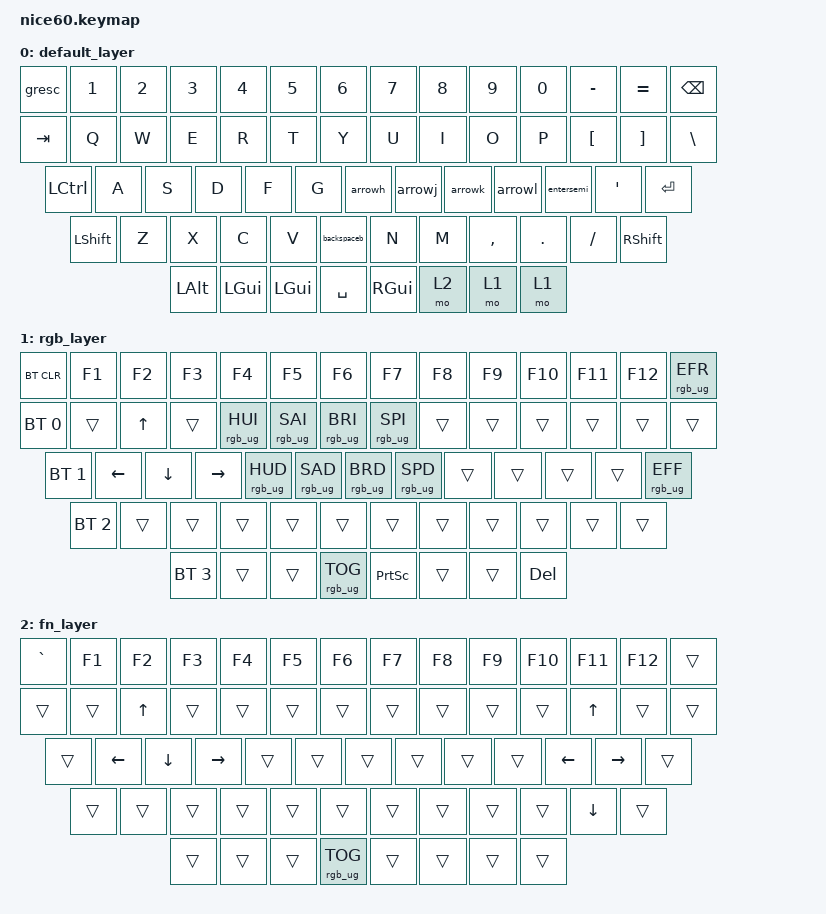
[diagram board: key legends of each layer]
/*
 * Copyright (c) 2021 Nick Winans
 *
 * SPDX-License-Identifier: MIT
 */

#include <behaviors.dtsi>
#include <dt-bindings/zmk/keys.h>
#include <dt-bindings/zmk/rgb.h>
#include <dt-bindings/zmk/bt.h>
#include <dt-bindings/zmk/outputs.h>
#include <dt-bindings/zmk/reset.h>
#include <dt-bindings/zmk/ext_power.h>

/ {
	keymap {
		compatible = "zmk,keymap";
		
		default_layer {
// ------------------------------------------------------------------------------------------
// | ESC |  1  |  2  |  3  |  4  |  5  |  6  |  7  |  8  |  9  |  0  |  -  |  =  |   BKSP   |
// | TAB  |  Q  |  W  |  E  |  R  |  T  |  Y  |  U  |  I  |  O  |  P  |  [  |  ]  |   "|"   |
// | CAPS  |  A  |  S  |  D  |  F  |  G  |  H  |  J  |  K  |  L  |  ;  |  '  |     ENTER    |
// |  SHIFT  |  Z  |  X  |  C  |  V  |  B  |  N  |  M  |  ,  |  .  |  /  |      SHIFT       |
// |  CTL  |  WIN  |  ALT  |            SPACE              |  ALT  |  WIN  |  MO(1) |  CTL  |
// ------------------------------------------------------------------------------------------
			bindings = <
	&gresc  &kp N1 &kp N2 &kp N3 &kp N4 &kp N5 &kp N6 &kp N7 &kp N8 &kp N9 &kp N0 &kp MINUS &kp EQUAL  &kp BSPC
	&kp TAB  &kp Q  &kp W  &kp E  &kp R  &kp T  &kp Y  &kp U  &kp I  &kp O  &kp P  &kp LBKT  &kp RBKT  &kp BSLH
	&kp LCTRL  &kp A  &kp S  &kp D  &kp F  &kp G  &arrowh  &arrowj  &arrowk  &arrowl  &entersemi &kp SQT           &kp RET
	&kp LSHFT   &kp Z  &kp X  &kp C  &kp V  &backspaceb  &kp N  &kp M  &kp COMMA &kp DOT &kp FSLH           &kp RSHFT
	&kp LALT &kp LGUI &kp LGUI             &kp SPACE                     &kp RGUI  &mo 2  &mo 1   &mo 1
			>;
		};

		rgb_layer {
// ------------------------------------------------------------------------------------------------
// | BT CLR | F1  | F2  | F3  | F4  | F5  | F6  | F7  | F8  | F9  | F10  | F11 | F12 | EFFECT REV |
// |  BT 1   |   |  UP |   | HUEUP | SATUP | BRIUP | SPDUP |   |     |    |     |     |           |
// |   BT 2   | LT |  DN  | RT | HUEDN | SATDN | BRIDN | SPDDN |   |     |   |     |  EFFECT FORW |
// |    BT 3     |     |      |      |     |     |     |     |     |     |     |                  |
// |   BT 4  |      |      |             TOG RGB                | PRT SCR |       |       |  DEL  |
// ------------------------------------------------------------------------------------------------
			bindings = <
	&bt BT_CLR   &kp F1    &kp F2    &kp F3  &kp F4           &kp F5          &kp F6          &kp F7          &kp F8   &kp F9   &kp F10  &kp F11 &kp F12  &rgb_ug RGB_EFR
	&bt BT_SEL 0  &trans    &kp UP    &trans  &rgb_ug RGB_HUI  &rgb_ug RGB_SAI &rgb_ug RGB_BRI &rgb_ug RGB_SPI  &trans   &trans   &trans   &trans  &trans          &trans 
	&bt BT_SEL 1   &kp LEFT  &kp DOWN  &kp RIGHT &rgb_ug RGB_HUD &rgb_ug RGB_SAD &rgb_ug RGB_BRD &rgb_ug RGB_SPD &trans   &trans   &trans   &trans        &rgb_ug RGB_EFF
	&bt BT_SEL 2    &trans    &trans    &trans   &trans          &trans          &trans          &trans          &trans   &trans   &trans                          &trans
	&bt BT_SEL 3  &trans   &trans                            &rgb_ug RGB_TOG                                      &kp PSCRN      &trans      &trans               &kp DEL
			>;
		};
		
		fn_layer {
// ------------------------------------------------------------------------------------------------
// | BT CLR | F1  | F2  | F3  | F4  | F5  | F6  | F7  | F8  | F9  | F10  | F11 | F12 | EFFECT REV |
// |  BT 1   |   |  UP |   | HUEUP | SATUP | BRIUP | SPDUP |   |     |    |     |     |           |
// |   BT 2   | LT |  DN  | RT | HUEDN | SATDN | BRIDN | SPDDN |   |     |   |     |  EFFECT FORW |
// |    BT 3     |     |      |      |     |     |     |     |     |     |     |                  |
// |   BT 4  |      |      |             TOG RGB                | PRT SCR |       |       |  DEL  |
// ------------------------------------------------------------------------------------------------
			bindings = <
	&kp GRAVE   &kp F1    &kp F2    &kp F3    &kp F4    &kp F5   &kp F6    &kp F7    &kp F8   &kp F9   &kp F10  &kp F11 &kp F12  &trans
	&trans   &trans    &kp UP    &trans    &trans    &trans   &trans    &trans    &trans   &trans   &trans   &kp UP  &trans          &trans 
	&trans   &kp LEFT  &kp DOWN  &kp RIGHT &trans    &trans   &trans    &trans    &trans   &trans   &kp LEFT   &kp RIGHT    &trans
	&trans   &trans    &trans    &trans    &trans    &trans   &trans    &trans    &trans   &trans   &kp DOWN   &trans
	&trans   &trans    &trans                            &rgb_ug RGB_TOG                                      &trans      &trans      &trans               &trans
			>;
		};
	};

    behaviors {
        arrowh: leftH {
            compatible = "zmk,behavior-mod-morph";
            label = "LEFT_H";
            #binding-cells = <0>;
            bindings = <&kp H>, <&kp LEFT>;
            mods = <MOD_LCTL>;
        };
		arrowj: downJ {
            compatible = "zmk,behavior-mod-morph";
            label = "DOWN_J";
            #binding-cells = <0>;
            bindings = <&kp J>, <&kp DOWN>;
            mods = <MOD_LCTL>;
        };
		arrowk: upK {
            compatible = "zmk,behavior-mod-morph";
            label = "UP_K";
            #binding-cells = <0>;
            bindings = <&kp K>, <&kp UP>;
            mods = <MOD_LCTL>;
        };
		arrowl: rightL {
            compatible = "zmk,behavior-mod-morph";
            label = "RIGHT_L";
            #binding-cells = <0>;
            bindings = <&kp L>, <&kp RIGHT>;
            mods = <MOD_LCTL>;
        };
		backspaceb: backspaceB {
            compatible = "zmk,behavior-mod-morph";
            label = "BACKSPACE_B";
            #binding-cells = <0>;
            bindings = <&kp B>, <&kp BSPC>;
            mods = <MOD_LCTL>;
        };
		entersemi: entersemi {
            compatible = "zmk,behavior-mod-morph";
            label = "ENTER_SEMI";
            #binding-cells = <0>;
            bindings = <&kp SEMI>, <&kp RET>;
            mods = <MOD_LCTL>;
        };
    };
};
